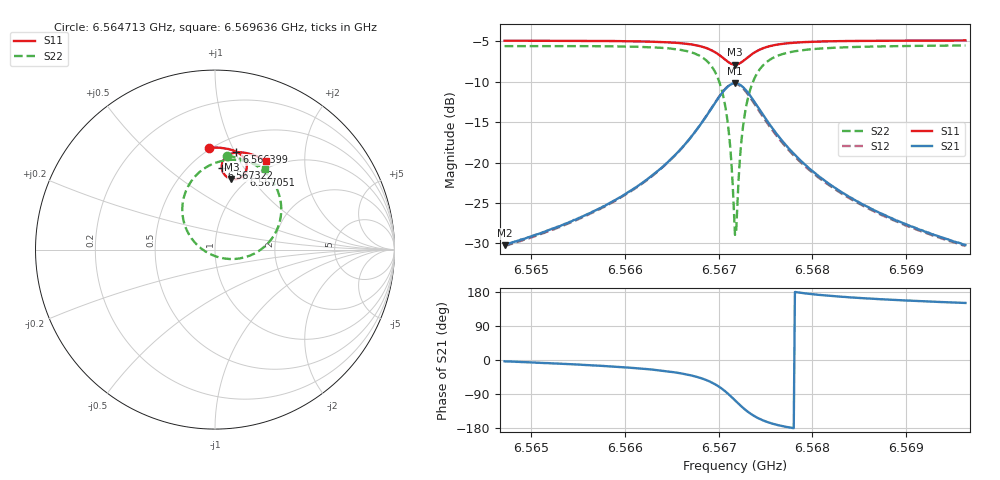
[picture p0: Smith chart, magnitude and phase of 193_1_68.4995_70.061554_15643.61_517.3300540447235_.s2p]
#  HZ  S  RI  R  50.00
! Rohde & Schwarz Vector Network Analyzer
! Rohde-Schwarz,ZNB20-2Port,1311601062101988,3.16
! Created: UTC 3/20/2024, 5:12:19 PM
! freq[Hz]  re:S11  im:S11  re:S21  im:S21  re:S12  im:S12  re:S22  im:S22
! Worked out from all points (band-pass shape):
!   401 points, 6.564713 GHz to 6.569636 GHz, reference 50 ohm
!   highest |S21| = -10.17 dB at 6.567174 GHz (marker M1); lowest = -30.2 dB at 6.564713 GHz (marker M2)
!   |S21| within 3 dB of the highest: 6.56693 GHz to 6.567421 GHz (491.3 kHz wide, 0.00748 % of centre)
!   lowest |S11| = -7.9 dB at 6.567174 GHz (marker M3), VSWR 2.35, Z = 42.7 + j40.1 ohm
!   |S11| at or under -10 dB: nowhere
!   |S22| runs from -29.0 to -5.5 dB; largest |S21 - S12| = 0.015
!   S11 on the Smith chart (normalised r, x): 6.564713 GHz: 0.48, +0.81; 6.566399 GHz: 0.64, +1.02; 6.567051 GHz: 0.91, +0.94; 6.567322 GHz: 0.70, +0.80; 6.569636 GHz: 0.89, +1.31
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6.5647127e9  -0.0353 0.5679  0.0307 -0.00182  0.0305 -0.00237  0.0664 0.5223
6.5655373e9  0.0339 0.5666  0.0451 -0.0101  0.0443 -0.0107  0.1485 0.5049
6.566362e9  0.1147 0.5471  0.08 -0.0412  0.0788 -0.0422  0.2688 0.4393
6.5663989e9  0.1188 0.5452  0.0827 -0.0444  0.0814 -0.0455  0.2762 0.4328
6.5666573e9  0.151 0.5227  0.1048 -0.0824  0.1032 -0.0839  0.3344 0.3588
6.5668543e9  0.1742 0.485  0.117 -0.1481  0.1141 -0.1513  0.3691 0.2316
6.566965e9  0.1757 0.448  0.1014 -0.213  0.0956 -0.2172  0.344 0.108
6.5670512e9  0.1578 0.4135  0.053 -0.2719  0.0429 -0.2749  0.2539 -0.000832
6.5670881e9  0.1422 0.4011  0.018 -0.2918  0.00571 -0.2931  0.1885 -0.0356
6.5671127e9  0.1292 0.3953  -0.0101 -0.3003  -0.0233 -0.2997  0.137 -0.0492
6.567162e9  0.0993 0.392  -0.072 -0.3011  -0.0857 -0.2958  0.0255 -0.0442
6.5671743e9  0.0917 0.3933  -0.0875 -0.2976  -0.101 -0.2907  -0.00184 -0.0356
6.5671866e9  0.0843 0.3954  -0.1026 -0.2922  -0.1156 -0.2845  -0.0281 -0.0245
6.5671989e9  0.0772 0.3983  -0.117 -0.2855  -0.1294 -0.2766  -0.0527 -0.0107
6.5672358e9  0.0587 0.4113  -0.1545 -0.2584  -0.1643 -0.2466  -0.1151 0.0426
6.5672604e9  0.0494 0.4222  -0.1737 -0.2361  -0.1812 -0.2234  -0.1449 0.0846
6.567322e9  0.038 0.4526  -0.1995 -0.1767  -0.202 -0.1638  -0.1805 0.1923
6.5674204e9  0.0444 0.4928  -0.1965 -0.0987  -0.1942 -0.0889  -0.1614 0.3277
6.5675681e9  0.0722 0.5251  -0.1608 -0.0356  -0.1573 -0.0303  -0.0852 0.4328
6.5679989e9  0.1405 0.5422  -0.0883 0.00967  -0.0862 0.0111  0.0723 0.4991
6.5688235e9  0.2216 0.5241  -0.0428 0.0162  -0.0419 0.0165  0.2047 0.4839
6.5696358e9  0.2833 0.4954  -0.0268 0.0152  -0.0261 0.0154  0.2809 0.451
